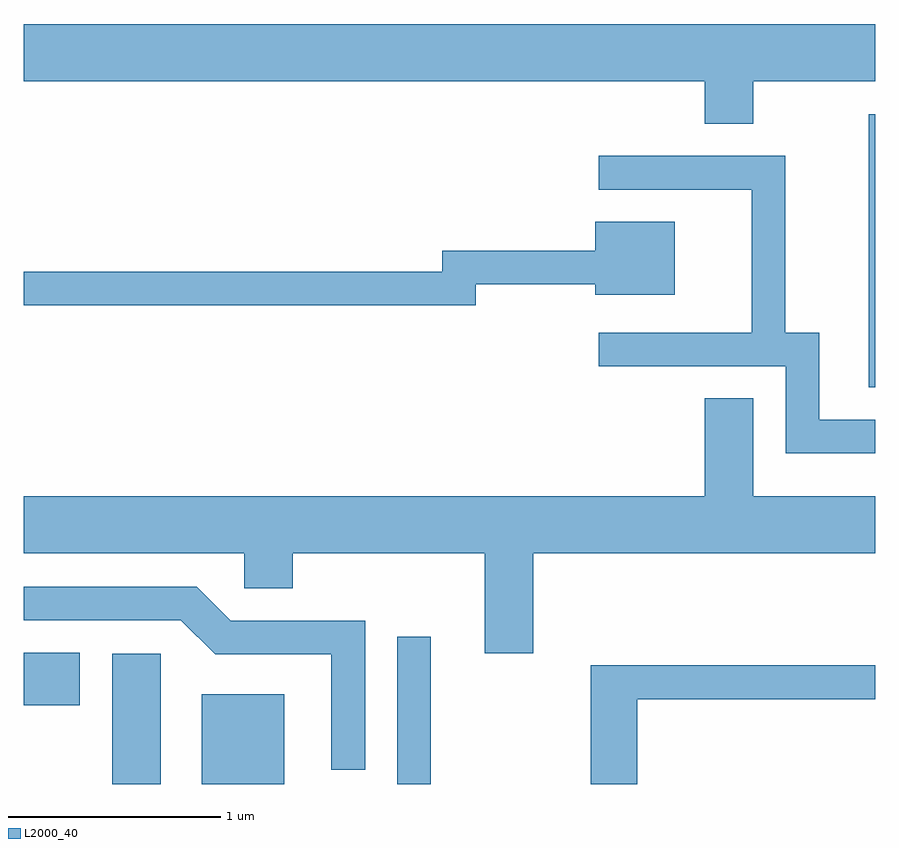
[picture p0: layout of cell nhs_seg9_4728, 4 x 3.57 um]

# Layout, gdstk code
import gdstk
lib = gdstk.Library(unit=1e-6, precision=1e-09)
def R(c, l, rs):  # rectangles x0, y0, x1, y1
    for r in rs: c.add(gdstk.rectangle(r[:2], r[2:], *l))
def P(c, l, *ps):  # polygons
    for p in ps: c.add(gdstk.Polygon(p, *l))
L2000_40 = (2000, 40)

nhs_seg9_4728 = lib.new_cell('nhs_seg9_4728')
R(nhs_seg9_4728, L2000_40, [(324.026,2068.432,324.254,2069.044), (324.446,2068.432,324.834,2068.854), (325.366,2068.432,325.524,2069.123), (323.611,2068.801,323.874,2069.049), (327.581,2070.296,327.611,2071.579)])
P(nhs_seg9_4728, L2000_40, [(327.039,2071.736),(327.611,2071.736),(327.611,2072.004),(323.611,2072.004),(323.611,2071.736),(326.811,2071.736),(326.811,2071.536),(327.039,2071.536)],
  [(327.611,2070.144),(327.349,2070.144),(327.349,2070.554),(327.189,2070.554),(327.189,2071.384),(326.313,2071.384),(326.313,2071.226),(327.031,2071.226),(327.031,2070.554),(326.313,2070.554),(326.313,2070.396),(327.191,2070.396),(327.191,2069.986),(327.611,2069.986)],
  [(325.734,2070.781),(326.296,2070.781),(326.296,2070.731),(326.669,2070.731),(326.669,2071.074),(326.296,2071.074),(326.296,2070.939),(325.576,2070.939),(325.576,2070.839),(323.611,2070.839),(323.611,2070.681),(325.734,2070.681)],
  [(326.004,2069.516),(327.611,2069.516),(327.611,2069.784),(327.039,2069.784),(327.039,2070.244),(326.811,2070.244),(326.811,2069.784),(323.611,2069.784),(323.611,2069.516),(324.646,2069.516),(324.646,2069.351),(324.874,2069.351),(324.874,2069.516),(325.776,2069.516),(325.776,2069.046),(326.004,2069.046)],
  [(325.214,2069.199),(324.582,2069.199),(324.422,2069.359),(323.611,2069.359),(323.611,2069.201),(324.349,2069.201),(324.509,2069.041),(325.056,2069.041),(325.056,2068.498),(325.214,2068.498)],
  [(326.494,2068.831),(327.611,2068.831),(327.611,2068.989),(326.276,2068.989),(326.276,2068.432),(326.494,2068.432)])

lib.write_gds('nhs_seg9_4728.gds')
